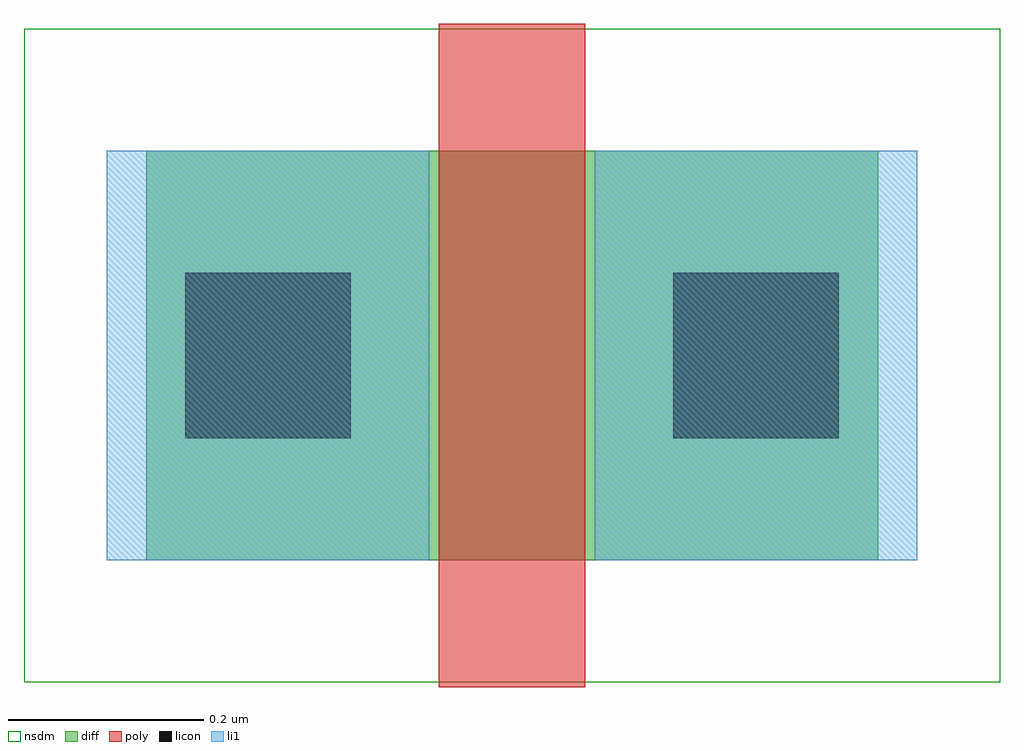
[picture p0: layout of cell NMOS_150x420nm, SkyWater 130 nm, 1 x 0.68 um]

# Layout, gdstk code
import gdstk
lib = gdstk.Library(unit=1e-6, precision=1e-09)
def R(c, l, rs):  # rectangles x0, y0, x1, y1
    for r in rs: c.add(gdstk.rectangle(r[:2], r[2:], *l))
diff = (65, 20)
poly = (66, 20)
licon = (66, 44)
li1 = (67, 20)
nsdm = (93, 44)

nmos_150x420nm = lib.new_cell('NMOS_150x420nm')
R(nmos_150x420nm, diff, [(-0.48,-0.08,0.27,0.34)])
R(nmos_150x420nm, poly, [(-0.18,-0.21,-0.03,0.47)])
R(nmos_150x420nm, licon, [(-0.44,0.045,-0.27,0.215), (0.06,0.045,0.23,0.215)])
R(nmos_150x420nm, li1, [(-0.52,-0.08,-0.19,0.34), (-0.02,-0.08,0.31,0.34)])
R(nmos_150x420nm, nsdm, [(-0.605,-0.205,0.395,0.465)])

lib.write_gds('NMOS_150x420nm.gds')
